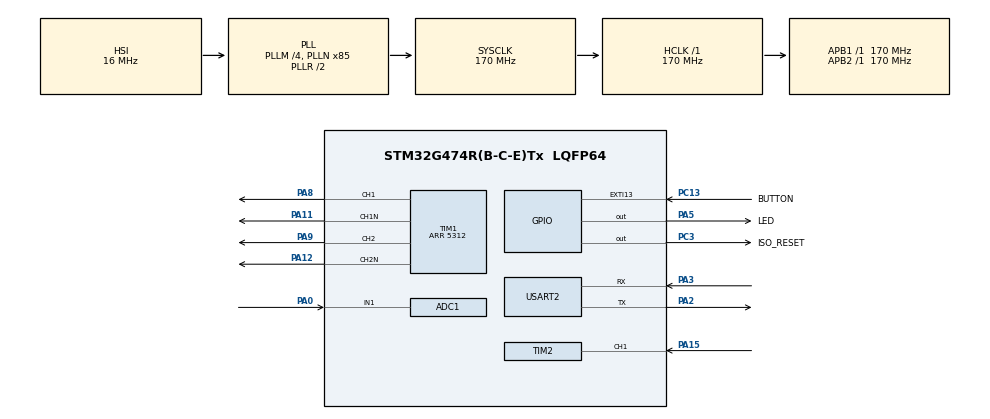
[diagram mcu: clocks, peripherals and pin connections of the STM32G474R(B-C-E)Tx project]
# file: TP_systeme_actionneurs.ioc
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ADC1.Channel-0\#ChannelRegularConversion=ADC_CHANNEL_1
ADC1.NbrOfConversionFlag=1
ADC1.OffsetNumber-0\#ChannelRegularConversion=ADC_OFFSET_NONE
ADC1.Rank-0\#ChannelRegularConversion=1
ADC1.SamplingTime-0\#ChannelRegularConversion=ADC_SAMPLETIME_2CYCLES_5
ADC1.master=1
Mcu.Family=STM32G4
Mcu.Name=STM32G474R(B-C-E)Tx
Mcu.Package=LQFP64
NVIC.ADC1_2_IRQn=true\:0\:0\:false\:false\:true\:true\:true\:true
NVIC.EXTI15_10_IRQn=true\:0\:0\:false\:false\:true\:true\:true\:true
NVIC.PriorityGroup=NVIC_PRIORITYGROUP_4
NVIC.TIM2_IRQn=true\:0\:0\:false\:false\:true\:true\:true\:true
NVIC.USART2_IRQn=true\:0\:0\:false\:false\:true\:true\:true\:true
PA0.Mode=IN1-Single-Ended
PA0.Signal=ADC1_IN1
PA11.Mode=PWM Generation1 CH1 CH1N
PA11.Signal=TIM1_CH1N
PA12.Mode=PWM Generation2 CH2 CH2N
PA12.Signal=TIM1_CH2N
PA13.GPIO_Label=T_SWDIO
PA13.Mode=Serial_Wire
PA13.Signal=SYS_JTMS-SWDIO
PA14.GPIO_Label=T_SWCLK
PA14.Mode=Serial_Wire
PA14.Signal=SYS_JTCK-SWCLK
PA15.Signal=S_TIM2_CH1
PA2.Mode=Asynchronous
PA2.Signal=USART2_TX
PA3.Mode=Asynchronous
PA3.Signal=USART2_RX
PA5.GPIO_Label=LED
PA5.Signal=GPIO_Output
PA8.Signal=S_TIM1_CH1
PA9.Signal=S_TIM1_CH2
PC13.GPIO_Label=BUTTON
PC13.Signal=GPXTI13
PC14-OSC32_IN.Mode=LSE-External-Oscillator
PC14-OSC32_IN.Signal=RCC_OSC32_IN
PC15-OSC32_OUT.Mode=LSE-External-Oscillator
PC15-OSC32_OUT.Signal=RCC_OSC32_OUT
PC3.GPIO_Label=ISO_RESET
PC3.Signal=GPIO_Output
PF0-OSC_IN.Mode=HSE-External-Oscillator
PF0-OSC_IN.Signal=RCC_OSC_IN
PF1-OSC_OUT.Mode=HSE-External-Oscillator
PF1-OSC_OUT.Signal=RCC_OSC_OUT
ProjectManager.HeapSize=0x200
ProjectManager.StackSize=0x400
ProjectManager.TargetToolchain=STM32CubeIDE
RCC.ADC12Freq_Value=170000000
RCC.ADC345Freq_Value=170000000
RCC.AHBFreq_Value=170000000
RCC.APB1Freq_Value=170000000
RCC.APB1TimFreq_Value=170000000
RCC.APB2Freq_Value=170000000
RCC.APB2TimFreq_Value=170000000
RCC.CortexFreq_Value=170000000
RCC.EXTERNAL_CLOCK_VALUE=12288000
RCC.HCLKFreq_Value=170000000
RCC.HSE_VALUE=24000000
RCC.HSI48_VALUE=48000000
RCC.HSI_VALUE=16000000
RCC.PLLM=RCC_PLLM_DIV4
RCC.PLLN=85
RCC.RTCClockSelection=RCC_RTCCLKSOURCE_LSE
RCC.SYSCLKFreq_VALUE=170000000
RCC.SYSCLKSource=RCC_SYSCLKSOURCE_PLLCLK
RCC.USBFreq_Value=170000000
RCC.VCOOutputFreq_Value=340000000
SH.S_TIM1_CH1.0=TIM1_CH1,PWM Generation1 CH1 CH1N
SH.S_TIM1_CH2.0=TIM1_CH2,PWM Generation2 CH2 CH2N
SH.S_TIM2_CH1.0=TIM2_CH1,Input_Capture1_from_TI1
TIM1.AsymmetricalDeadTime=DISABLE
TIM1.AutoReloadPreload=TIM_AUTORELOAD_PRELOAD_ENABLE
TIM1.AutomaticOutput=TIM_AUTOMATICOUTPUT_ENABLE
TIM1.BreakState=TIM_BREAK_DISABLE
TIM1.Channel-PWM\ Generation1\ CH1\ CH1N=TIM_CHANNEL_1
TIM1.Channel-PWM\ Generation2\ CH2\ CH2N=TIM_CHANNEL_2
TIM1.CounterMode=TIM_COUNTERMODE_CENTERALIGNED1
TIM1.DeadTime=203
TIM1.DeadTimePreload=DISABLE
TIM1.OCIdleState_1=TIM_OCIDLESTATE_RESET
TIM1.OCIdleState_2=TIM_OCIDLESTATE_RESET
TIM1.OCMode_PWM-PWM\ Generation1\ CH1\ CH1N=TIM_OCMODE_PWM1
TIM1.OCMode_PWM-PWM\ Generation2\ CH2\ CH2N=TIM_OCMODE_PWM1
TIM1.OCNIdleState_1=TIM_OCNIDLESTATE_RESET
TIM1.OCNIdleState_2=TIM_OCNIDLESTATE_RESET
TIM1.PeriodNoDither=5312
TIM1.PulseNoDither_1=2656
TIM1.PulseNoDither_2=2656
TIM2.Channel-Input_Capture1_from_TI1=TIM_CHANNEL_1
TIM2.ICPolarity_CH1=TIM_INPUTCHANNELPOLARITY_BOTHEDGE
TIM2.TIM_MasterOutputTrigger=TIM_TRGO_ENCODER_CLK
USART2.VirtualMode-Asynchronous=VM_ASYNC
VP_SYS_VS_DBSignals.Mode=DisableDeadBatterySignals
VP_TIM1_VS_ClockSourceINT.Mode=Internal
VP_TIM2_VS_ClockSourceINT.Mode=Internal
board=NUCLEO-G474RE

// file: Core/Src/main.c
/* USER CODE BEGIN Header */
/**
 ******************************************************************************
 * @file           : main.c
 * @brief          : Main program body
 * @authors		   : Fabien DELSANTI, Mikael DELLA SETA
 * @version		   : final
 * @date		   : 25 novembre 2022
 ******************************************************************************
 * @attention
 *
 * Copyright (c) 2022 STMicroelectronics.
 * All rights reserved.
 *
 * This software is licensed under terms that can be found in the LICENSE file
 * in the root directory of this software component.
 * If no LICENSE file comes with this software, it is provided AS-IS.
 *
 ******************************************************************************
 */
/* USER CODE END Header */
#include "main.h"
#include "adc.h"
#include "tim.h"
#include "usart.h"
#include "gpio.h"

/* USER CODE BEGIN PD */
/// Taille du buffer d'écriture pour afficher des caractères sur le shell
#define UART_TX_BUFFER_SIZE 300
/// Taille du buffer de lecture des caractères entrés dans le shell
#define UART_RX_BUFFER_SIZE 1
/// Taille du buffer pour lancer des fonctions dans shell
#define CMD_BUFFER_SIZE 64
/// Nombre maximum d'arguments pour une fonction shell
#define MAX_ARGS 9
/// Vitesse maximale dans le sens positif, en nombre de tick de timer
#define MAX_SPEED_VALUE 5312
/// Valeur maximum des CCR du timer générant les PWM du moteur
#define MAX_PULSE 5312
/// LF = line feed, saut de ligne
#define ASCII_LF 0x0A
/// CR = carriage return, retour chariot
#define ASCII_CR 0x0D
/// DEL = delete
#define ASCII_DEL 0x7F
/* USER CODE END PD */

/* USER CODE BEGIN PV */
/// Flag pour le controle de l'ADC. =1 -> l'ADC est en cours de mesure
int ADCmeasuring = 1;
/// Message de shell pour l'invite d'une commande
uint8_t prompt[]="\r\nuser@Nucleo-STM32G431>>";
/// Message de démarage du shell
uint8_t started[]=
		"\r\n*-----------------------------*"
		"\r\n| Welcome on Nucleo-STM32G431 |"
		"\r\n*-----------------------------*"
		"\r\n";
/// Combinaison de caractères pour le saut de ligne
uint8_t newline[]="\r\n";
/// Message d'erreure pour les fonctions shell non reconnues
uint8_t cmdNotFound[]="Command not found\r\n";
/// Flag mis à 1 à la réception d'un caractère sur la liaison UART
uint32_t uartRxReceived;
/// Buffer de caractères pour la réception de données via l'UART
uint8_t uartRxBuffer[UART_RX_BUFFER_SIZE];
/// Buffer de caractères pour l'envoi de données via l'UART
uint8_t uartTxBuffer[UART_TX_BUFFER_SIZE];
/// Message d'affichage de la liste des commandes du shell
uint8_t commandList[] =
		"\r\nhelp:		affiche cette liste"
		"\r\npinout:	affiche toutes les broches utilisées"
		"\r\nstart:		allume l'étage de puissance du moteur"
		"\r\nstop:		éteind l'étage de puissance du moteur"

		"\r\nset PA5:	allume ou éteint la LED de la carte en fonction de l'argument 0 ou 1"
		"\r\nspeed=:	change la commande de vitesse du moteur"
		"\r\nADC?:		lance une mesure de courant"
		"\r\nrealSpeed:	affiche la vitesse mesurée"
		;
/// Message d'affichage pour la liste des pins et leur équivalent sur le hacheur
uint8_t pinList[] =
		"\r\nPA8:	TIM1_C1		-> CMD_R_TOP:	p13"
		"\r\nPA11:	TIM1_C1N	-> CMD_R_BOT:	p31"
		"\r\nPA9:	TIM1_C2		-> CMD_Y_TOP:	p12"
		"\r\nPA12:	TIM1_C2N	-> CMD_Y_BOT:	p30"
		//"\r\nPC13:		Button"
		"\r\nPC3:	ISO_RESET	-> ISO_RESET:	p33"
		"\r\nPA0:	ADC			-> R_HALL:		p35"
		"\r\nPA15:	TIM2_C1		-> R_VPH_SENSE	p24";
//"\r\nPA5:		LED\r\n";

/*		"\r\nPF0:		RCC_OSC_IN"
		"\r\nPF1:		RCC_OSC_OUT"
		"\r\nPA2:		USART_TX"
		"\r\nPA3:		USART_RX"	*/

/* USER CODE END PV */

void SystemClock_Config(void);

/* USER CODE BEGIN 0 */

/*
int cnt = 0;
void HAL_ADC_ConvCpltCallback(ADC_HandleTypeDef* hadc1)
{
	cnt++;

	float current = (((HAL_ADC_GetValue(&hadc1)/4096)*3.3)-2.5)*12;

	ADCmeasuring = 0;

	sprintf(uartTxBuffer,"ADC : %f\r\n", current);
	HAL_UART_Transmit(&huart2, uartTxBuffer, strlen(uartTxBuffer), HAL_MAX_DELAY);

	if (cnt>30)
	{
		ADCmeasuring = 1;
	}
}
 */
/// temps haut et temps bas (indéterminé) de la phase Red en tick de HCLK
uint32_t redPhasePeriod1 = 0, redPhasePeriod2 = 0;
/// Sauvegarde de la dernière valeur du CCR pour la mesure de temps
uint32_t memtim2CCR = 0;
/**
 * \fn void HAL_TIM_IC_CaptureCallback(TIM_HandleTypeDef* htim)
 * \brief Fonction de callback pour la gestion de la détection d'un front
 *		sur le signal du channel. Permet le calcul des temps haut et bas de la phase Red
 */
void HAL_TIM_IC_CaptureCallback(TIM_HandleTypeDef* htim){
	uint32_t timCCR;
	if(htim==&htim2){
		timCCR = TIM2->CCR2;
		if(memtim2CCR < timCCR){
			redPhasePeriod1 = redPhasePeriod2;
			redPhasePeriod2 = (timCCR-memtim2CCR);
		}
		else{
			redPhasePeriod1 = 0;
			redPhasePeriod2 = 0;
		}
		memtim2CCR = timCCR;
	}
}

/* USER CODE END 0 */

int main(void)
{
	/* USER CODE BEGIN 1 */
	char	 	cmdBuffer[CMD_BUFFER_SIZE];
	int 		idx_cmd;
	char* 		argv[MAX_ARGS];
	int		 	argc = 0;
	char*		token;
	int 		newCmdReady = 0;
	int			speedValue = 0;

	/* USER CODE END 1 */

	/* MCU Configuration--------------------------------------------------------*/

	/* Reset of all peripherals, Initializes the Flash interface and the Systick. */
	HAL_Init();

	/* Configure the system clock */
	SystemClock_Config();

	/* Initialize all configured peripherals */
	MX_GPIO_Init();
	MX_TIM1_Init();
	MX_USART2_UART_Init();
	MX_ADC1_Init();
	MX_TIM2_Init();
	/* USER CODE BEGIN 2 */
	HAL_TIM_Base_Start_IT(&htim2);
	HAL_TIM_IC_Start_IT(&htim2, TIM_CHANNEL_1);

	HAL_GPIO_WritePin(ISO_RESET_GPIO_Port, ISO_RESET_Pin, GPIO_PIN_RESET);

	memset(argv,NULL,MAX_ARGS*sizeof(char*));
	memset(cmdBuffer,NULL,CMD_BUFFER_SIZE*sizeof(char));
	memset(uartRxBuffer,NULL,UART_RX_BUFFER_SIZE*sizeof(char));
	memset(uartTxBuffer,NULL,UART_TX_BUFFER_SIZE*sizeof(char));

	HAL_UART_Receive_IT(&huart2, uartRxBuffer, UART_RX_BUFFER_SIZE);
	HAL_Delay(10);
	HAL_UART_Transmit(&huart2, started, sizeof(started), HAL_MAX_DELAY);
	HAL_UART_Transmit(&huart2, prompt, sizeof(prompt), HAL_MAX_DELAY);

	/* USER CODE END 2 */

	/* Infinite loop */
	/* USER CODE BEGIN WHILE */
	while (1)
	{/*
		HAL_GPIO_WritePin(LED_GPIO_Port, LED_Pin, GPIO_PIN_RESET);
		HAL_UART_Receive(USART2, usartBuffer, 1, HAL_MAX_DELAY);
		HAL_GPIO_WritePin(LED_GPIO_Port, LED_Pin, GPIO_PIN_SET);
		HAL_UART_Transmit(USART2, usartBuffer, 1, HAL_MAX_DELAY);
	 */

		/*sprintf(usartBuffer, "helloworld!\r\n");
		HAL_UART_Transmit(&huart2, usartBuffer, sizeof(usartBuffer), HAL_MAX_DELAY);
		HAL_Delay(1000);
		HAL_GPIO_TogglePin(LED_GPIO_Port, LED_Pin);*/

		if (!ADCmeasuring){

			HAL_ADC_Start_IT(&hadc1);

		}

		if(uartRxReceived){
			switch(uartRxBuffer[0]){
			/// . Nouvelle ligne, instruction à traiter
			case ASCII_CR:
				HAL_UART_Transmit(&huart2, newline, sizeof(newline), HAL_MAX_DELAY);
				cmdBuffer[idx_cmd] = '\0';
				argc = 0;
				token = strtok(cmdBuffer, " ");
				while(token!=NULL){
					argv[argc++] = token;
					token = strtok(NULL, " ");
				}

				idx_cmd = 0;
				newCmdReady = 1;
				break;

				/// Suppression du dernier caractère
			case ASCII_DEL:
				cmdBuffer[idx_cmd--] = '\0';
				HAL_UART_Transmit(&huart2, uartRxBuffer, UART_RX_BUFFER_SIZE, HAL_MAX_DELAY);
				break;

				/// Nouveau caractère
			default:
				cmdBuffer[idx_cmd++] = uartRxBuffer[0];
				HAL_UART_Transmit(&huart2, uartRxBuffer, UART_RX_BUFFER_SIZE, HAL_MAX_DELAY);
			}
			uartRxReceived = 0;
		}

		if(newCmdReady){

			/// Showing commands
			if(strcmp(argv[0],"help")==0){
				sprintf(uartTxBuffer,commandList);
				HAL_UART_Transmit(&huart2, uartTxBuffer, sizeof(commandList), HAL_MAX_DELAY);
			}
			/// Showing pinouts
			else if(strcmp(argv[0],"pinout")==0){
				sprintf(uartTxBuffer,pinList);
				HAL_UART_Transmit(&huart2, uartTxBuffer, sizeof(pinList), HAL_MAX_DELAY);
			}

			/// Switching the LED on or off
			else if(strcmp(argv[0],"set")==0){
				if(strcmp(argv[1],"PA5")==0){
					HAL_GPIO_WritePin(LED_GPIO_Port, LED_Pin, atoi(argv[2]));
					sprintf(uartTxBuffer,"Switch on/off led : %d\r\n",atoi(argv[2]));
					HAL_UART_Transmit(&huart2, uartTxBuffer, CMD_BUFFER_SIZE, HAL_MAX_DELAY);
				}

				else{
					HAL_UART_Transmit(&huart2, cmdNotFound, sizeof(cmdNotFound), HAL_MAX_DELAY);
				}
			}

			/// Starting the motor
			else if(strcmp(argv[0],"start")==0)
			{

				TIM1->CCR1 = MAX_SPEED_VALUE/2;
				TIM1->CCR2 = MAX_SPEED_VALUE/2;

				HAL_GPIO_WritePin(ISO_RESET_GPIO_Port, ISO_RESET_Pin, GPIO_PIN_SET);
				HAL_Delay(1);
				HAL_GPIO_WritePin(ISO_RESET_GPIO_Port, ISO_RESET_Pin, GPIO_PIN_RESET);

				HAL_GPIO_WritePin(LED_GPIO_Port, LED_Pin, GPIO_PIN_SET);

				HAL_TIM_PWM_Start(&htim1, TIM_CHANNEL_1);
				HAL_TIMEx_PWMN_Start(&htim1, TIM_CHANNEL_1);
				HAL_TIM_PWM_Start(&htim1, TIM_CHANNEL_2);
				HAL_TIMEx_PWMN_Start(&htim1, TIM_CHANNEL_2);

				sprintf(uartTxBuffer,"Power ON\r\n");
				HAL_UART_Transmit(&huart2, uartTxBuffer, strlen(uartTxBuffer), HAL_MAX_DELAY);
			}

			/// Stopping the motor
			else if(strcmp(argv[0],"stop")==0)
			{

				HAL_TIM_PWM_Stop(&htim1, TIM_CHANNEL_1);
				HAL_TIMEx_PWMN_Stop(&htim1, TIM_CHANNEL_1);
				HAL_TIM_PWM_Stop(&htim1, TIM_CHANNEL_2);
				HAL_TIMEx_PWMN_Stop(&htim1, TIM_CHANNEL_2);

				HAL_GPIO_WritePin(LED_GPIO_Port, LED_Pin, GPIO_PIN_RESET);

				sprintf(uartTxBuffer,"Power OFF\r\n");
				HAL_UART_Transmit(&huart2, uartTxBuffer, strlen(uartTxBuffer), HAL_MAX_DELAY);

			}

			/// Setting the speed of the motor
			else if (strcmp(argv[0],"speed=")==0)
			{
				speedValue = atoi(argv[1]);

				if (speedValue > 100)
				{
					speedValue = 100;
				}

				TIM1->CCR1 = MAX_SPEED_VALUE*speedValue/100;

				TIM1->CCR2 = MAX_PULSE - MAX_SPEED_VALUE*speedValue/100;

				sprintf(uartTxBuffer,"Setting the speed to %d %\r\n",speedValue);
				HAL_UART_Transmit(&huart2, uartTxBuffer, strlen(uartTxBuffer), HAL_MAX_DELAY);

				ADCmeasuring = 0;

			}

			///Getting the current's value
			else if (strcmp(argv[0],"ADC?")==0)
			{
				ADCmeasuring = 0;

				HAL_ADC_Start(&hadc1);
				HAL_ADC_PollForConversion(&hadc1,HAL_MAX_DELAY);
				float adcVal = HAL_ADC_GetValue(&hadc1);	//Getting the value of the ADC

				//Converting the value
				float current = (((adcVal/4096)*3.3)-2.5)*12;

				//Showing the value
				sprintf(uartTxBuffer,"ADC current value : %f A\r\n",current);
				HAL_UART_Transmit(&huart2, uartTxBuffer, strlen(uartTxBuffer), HAL_MAX_DELAY);

			}

			///Getting measured speed
			else if (strcmp(argv[0],"realSpeed")==0)
			{
				HAL_RCC_GetPCLK1Freq();
				//Showing the value
				sprintf(uartTxBuffer,"vitesse: ...\r\n");
				HAL_UART_Transmit(&huart2, uartTxBuffer, strlen(uartTxBuffer), HAL_MAX_DELAY);

			}

			///Command not found
			/*else if(strcmp(argv[0],"get")==0)
			{
				HAL_UART_Transmit(&huart2, cmdNotFound, sizeof(cmdNotFound), HAL_MAX_DELAY);
			}*/
			else{
				HAL_UART_Transmit(&huart2, cmdNotFound, sizeof(cmdNotFound), HAL_MAX_DELAY);
			}
			HAL_UART_Transmit(&huart2, prompt, sizeof(prompt), HAL_MAX_DELAY);
			newCmdReady = 0;
		}

		/* USER CODE END WHILE */

		/* USER CODE BEGIN 3 */
	}
	return -1;
	/* USER CODE END 3 */
}

void SystemClock_Config(void)
{
	RCC_OscInitTypeDef RCC_OscInitStruct = {0};
	RCC_ClkInitTypeDef RCC_ClkInitStruct = {0};

	/** Configure the main internal regulator output voltage
	 */
	HAL_PWREx_ControlVoltageScaling(PWR_REGULATOR_VOLTAGE_SCALE1_BOOST);

	/** Initializes the RCC Oscillators according to the specified parameters
	 * in the RCC_OscInitTypeDef structure.
	 */
	RCC_OscInitStruct.OscillatorType = RCC_OSCILLATORTYPE_HSI;
	RCC_OscInitStruct.HSIState = RCC_HSI_ON;
	RCC_OscInitStruct.HSICalibrationValue = RCC_HSICALIBRATION_DEFAULT;
	RCC_OscInitStruct.PLL.PLLState = RCC_PLL_ON;
	RCC_OscInitStruct.PLL.PLLSource = RCC_PLLSOURCE_HSI;
	RCC_OscInitStruct.PLL.PLLM = RCC_PLLM_DIV4;
	RCC_OscInitStruct.PLL.PLLN = 85;
	RCC_OscInitStruct.PLL.PLLP = RCC_PLLP_DIV2;
	RCC_OscInitStruct.PLL.PLLQ = RCC_PLLQ_DIV2;
	RCC_OscInitStruct.PLL.PLLR = RCC_PLLR_DIV2;
	if (HAL_RCC_OscConfig(&RCC_OscInitStruct) != HAL_OK)
	{
		Error_Handler();
	}

	/** Initializes the CPU, AHB and APB buses clocks
	 */
	RCC_ClkInitStruct.ClockType = RCC_CLOCKTYPE_HCLK|RCC_CLOCKTYPE_SYSCLK
			|RCC_CLOCKTYPE_PCLK1|RCC_CLOCKTYPE_PCLK2;
	RCC_ClkInitStruct.SYSCLKSource = RCC_SYSCLKSOURCE_PLLCLK;
	RCC_ClkInitStruct.AHBCLKDivider = RCC_SYSCLK_DIV1;
	RCC_ClkInitStruct.APB1CLKDivider = RCC_HCLK_DIV1;
	RCC_ClkInitStruct.APB2CLKDivider = RCC_HCLK_DIV1;

	if (HAL_RCC_ClockConfig(&RCC_ClkInitStruct, FLASH_LATENCY_4) != HAL_OK)
	{
		Error_Handler();
	}
}

/* USER CODE BEGIN 4 */
void HAL_UART_RxCpltCallback (UART_HandleTypeDef * huart){
	uartRxReceived = 1;
	HAL_UART_Receive_IT(&huart2, uartRxBuffer, UART_RX_BUFFER_SIZE);
}
/* USER CODE END 4 */

void Error_Handler(void)
{
	__disable_irq();
	while (1)
	{
	}
}
